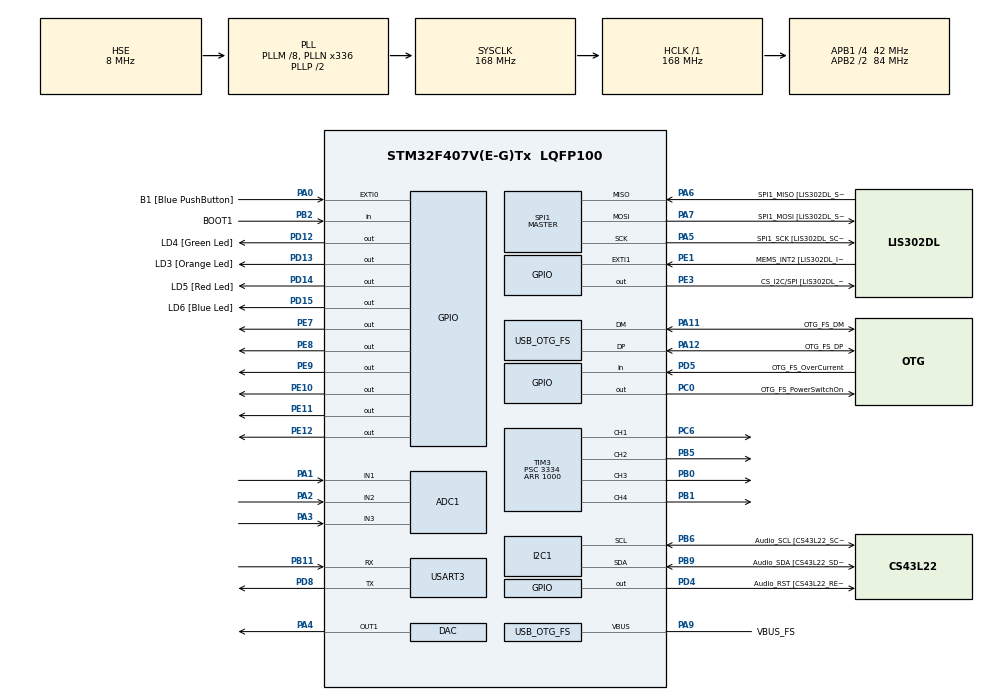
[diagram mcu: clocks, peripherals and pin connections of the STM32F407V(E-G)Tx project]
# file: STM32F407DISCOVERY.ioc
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ADC1.Channel-0\#ChannelRegularConversion=ADC_CHANNEL_1
ADC1.Channel-1\#ChannelRegularConversion=ADC_CHANNEL_2
ADC1.Channel-2\#ChannelRegularConversion=ADC_CHANNEL_3
ADC1.ContinuousConvMode=ENABLE
ADC1.DMAContinuousRequests=ENABLE
ADC1.NbrOfConversion=3
ADC1.NbrOfConversionFlag=1
ADC1.Rank-0\#ChannelRegularConversion=1
ADC1.Rank-1\#ChannelRegularConversion=2
ADC1.Rank-2\#ChannelRegularConversion=3
ADC1.SamplingTime-0\#ChannelRegularConversion=ADC_SAMPLETIME_3CYCLES
ADC1.SamplingTime-1\#ChannelRegularConversion=ADC_SAMPLETIME_3CYCLES
ADC1.SamplingTime-2\#ChannelRegularConversion=ADC_SAMPLETIME_3CYCLES
ADC1.ScanConvMode=ENABLE
ADC1.master=1
DAC.DAC_Trigger=DAC_TRIGGER_T6_TRGO
Dma.ADC1.0.Direction=DMA_PERIPH_TO_MEMORY
Dma.ADC1.0.FIFOMode=DMA_FIFOMODE_DISABLE
Dma.ADC1.0.Instance=DMA2_Stream0
Dma.ADC1.0.MemDataAlignment=DMA_MDATAALIGN_WORD
Dma.ADC1.0.MemInc=DMA_MINC_ENABLE
Dma.ADC1.0.Mode=DMA_NORMAL
Dma.ADC1.0.PeriphDataAlignment=DMA_PDATAALIGN_WORD
Dma.ADC1.0.PeriphInc=DMA_PINC_DISABLE
Dma.ADC1.0.Priority=DMA_PRIORITY_LOW
Dma.Request0=ADC1
Mcu.Family=STM32F4
Mcu.Name=STM32F407V(E-G)Tx
Mcu.Package=LQFP100
NVIC.ADC_IRQn=true\:0\:0\:false\:false\:true\:true
NVIC.DMA2_Stream0_IRQn=true\:0\:0\:false\:false\:true\:false
NVIC.OTG_FS_IRQn=true\:0\:0\:false\:false\:true\:true
NVIC.PriorityGroup=NVIC_PRIORITYGROUP_0
NVIC.USART3_IRQn=true\:0\:0\:false\:false\:true\:true
PA0-WKUP.GPIO_Label=B1 [Blue PushButton]
PA0-WKUP.GPIO_ModeDefaultEXTI=GPIO_MODE_EVT_RISING
PA0-WKUP.GPIO_PuPd=GPIO_NOPULL
PA0-WKUP.Signal=GPXTI0
PA1.Signal=ADCx_IN1
PA10.GPIO_Label=OTG_FS_ID
PA10.GPIO_Mode=GPIO_MODE_AF_PP
PA10.GPIO_PuPd=GPIO_NOPULL
PA10.GPIO_Speed=GPIO_SPEED_FREQ_LOW
PA10.Signal=USB_OTG_FS_ID
PA11.GPIO_Label=OTG_FS_DM
PA11.GPIO_Mode=GPIO_MODE_AF_PP
PA11.GPIO_PuPd=GPIO_NOPULL
PA11.GPIO_Speed=GPIO_SPEED_FREQ_LOW
PA11.Mode=Host_Only
PA11.Signal=USB_OTG_FS_DM
PA12.GPIO_Label=OTG_FS_DP
PA12.GPIO_Mode=GPIO_MODE_AF_PP
PA12.GPIO_PuPd=GPIO_NOPULL
PA12.GPIO_Speed=GPIO_SPEED_FREQ_LOW
PA12.Mode=Host_Only
PA12.Signal=USB_OTG_FS_DP
PA13.GPIO_Label=SWDIO
PA13.Mode=Serial_Wire
PA13.Signal=SYS_JTMS-SWDIO
PA14.GPIO_Label=SWCLK
PA14.Mode=Serial_Wire
PA14.Signal=SYS_JTCK-SWCLK
PA2.Signal=ADCx_IN2
PA3.Signal=ADCx_IN3
PA4.Signal=COMP_DAC1_group
PA5.GPIO_Label=SPI1_SCK [LIS302DL_SCL/SPC]
PA5.GPIO_Mode=GPIO_MODE_AF_PP
PA5.GPIO_PuPd=GPIO_NOPULL
PA5.GPIO_Speed=GPIO_SPEED_FREQ_LOW
PA5.Mode=Full_Duplex_Master
PA5.Signal=SPI1_SCK
PA6.GPIO_Label=SPI1_MISO [LIS302DL_SDO]
PA6.GPIO_Mode=GPIO_MODE_AF_PP
PA6.GPIO_PuPd=GPIO_NOPULL
PA6.GPIO_Speed=GPIO_SPEED_FREQ_LOW
PA6.Mode=Full_Duplex_Master
PA6.Signal=SPI1_MISO
PA7.GPIO_Label=SPI1_MOSI [LIS302DL_SDA/SDI/SDO]
PA7.GPIO_Mode=GPIO_MODE_AF_PP
PA7.GPIO_PuPd=GPIO_NOPULL
PA7.GPIO_Speed=GPIO_SPEED_FREQ_LOW
PA7.Mode=Full_Duplex_Master
PA7.Signal=SPI1_MOSI
PA9.GPIO_Label=VBUS_FS
PA9.GPIO_Mode=GPIO_MODE_INPUT
PA9.GPIO_PuPd=GPIO_NOPULL
PA9.Mode=Activate_VBUS
PA9.Signal=USB_OTG_FS_VBUS
PB0.Signal=S_TIM3_CH3
PB1.Signal=S_TIM3_CH4
PB10.GPIO_Label=CLK_IN [MP45DT02_CLK]
PB10.GPIO_Mode=GPIO_MODE_AF_PP
PB10.GPIO_PuPd=GPIO_NOPULL
PB10.GPIO_Speed=GPIO_SPEED_FREQ_LOW
PB10.Signal=I2S2_CK
PB11.Mode=Asynchronous
PB11.Signal=USART3_RX
PB2.GPIO_Label=BOOT1
PB2.GPIO_Mode=GPIO_MODE_INPUT
PB2.GPIO_PuPd=GPIO_NOPULL
PB2.Signal=GPIO_Input
PB3.GPIO_Label=SWO
PB3.Signal=SYS_JTDO-SWO
PB5.Signal=S_TIM3_CH2
PB6.GPIO_Label=Audio_SCL [CS43L22_SCL]
PB6.GPIO_Mode=GPIO_MODE_AF_OD
PB6.GPIO_PuPd=GPIO_NOPULL
PB6.GPIO_Speed=GPIO_SPEED_FREQ_LOW
PB6.Mode=I2C
PB6.Signal=I2C1_SCL
PB9.GPIO_Label=Audio_SDA [CS43L22_SDA]
PB9.GPIO_Mode=GPIO_MODE_AF_OD
PB9.GPIO_PuPd=GPIO_NOPULL
PB9.GPIO_Speed=GPIO_SPEED_FREQ_LOW
PB9.Mode=I2C
PB9.Signal=I2C1_SDA
PC0.GPIO_Label=OTG_FS_PowerSwitchOn
PC0.GPIO_PuPd=GPIO_NOPULL
PC0.GPIO_Speed=GPIO_SPEED_FREQ_LOW
PC0.PinState=GPIO_PIN_SET
PC0.Signal=GPIO_Output
PC10.GPIO_Label=I2S3_SCK [CS43L22_SCLK]
PC10.GPIO_Mode=GPIO_MODE_AF_PP
PC10.GPIO_PuPd=GPIO_NOPULL
PC10.GPIO_Speed=GPIO_SPEED_FREQ_LOW
PC10.Signal=I2S3_CK
PC12.GPIO_Label=I2S3_SD [CS43L22_SDIN]
PC12.GPIO_Mode=GPIO_MODE_AF_PP
PC12.GPIO_PuPd=GPIO_NOPULL
PC12.GPIO_Speed=GPIO_SPEED_FREQ_LOW
PC12.Signal=I2S3_SD
PC14-OSC32_IN.GPIO_Label=PC14-OSC32_IN
PC14-OSC32_IN.Mode=LSE-External-Oscillator
PC14-OSC32_IN.Signal=RCC_OSC32_IN
PC15-OSC32_OUT.GPIO_Label=PC15-OSC32_OUT
PC15-OSC32_OUT.Mode=LSE-External-Oscillator
PC15-OSC32_OUT.Signal=RCC_OSC32_OUT
PC3.GPIO_Label=PDM_OUT [MP45DT02_DOUT]
PC3.GPIO_Mode=GPIO_MODE_AF_PP
PC3.GPIO_PuPd=GPIO_NOPULL
PC3.GPIO_Speed=GPIO_SPEED_FREQ_LOW
PC3.Signal=I2S2_SD
PC6.Signal=S_TIM3_CH1
PC7.GPIO_Label=I2S3_MCK [CS43L22_MCLK]
PC7.GPIO_Mode=GPIO_MODE_AF_PP
PC7.GPIO_PuPd=GPIO_NOPULL
PC7.GPIO_Speed=GPIO_SPEED_FREQ_LOW
PC7.Signal=I2S3_MCK
PD12.GPIO_Label=LD4 [Green Led]
PD12.GPIO_PuPd=GPIO_NOPULL
PD12.GPIO_Speed=GPIO_SPEED_FREQ_LOW
PD12.Signal=GPIO_Output
PD13.GPIO_Label=LD3 [Orange Led]
PD13.GPIO_PuPd=GPIO_NOPULL
PD13.GPIO_Speed=GPIO_SPEED_FREQ_LOW
PD13.Signal=GPIO_Output
PD14.GPIO_Label=LD5 [Red Led]
PD14.GPIO_PuPd=GPIO_NOPULL
PD14.GPIO_Speed=GPIO_SPEED_FREQ_LOW
PD14.Signal=GPIO_Output
PD15.GPIO_Label=LD6 [Blue Led]
PD15.GPIO_PuPd=GPIO_NOPULL
PD15.GPIO_Speed=GPIO_SPEED_FREQ_LOW
PD15.Signal=GPIO_Output
PD4.GPIO_Label=Audio_RST [CS43L22_RESET]
PD4.GPIO_PuPd=GPIO_NOPULL
PD4.GPIO_Speed=GPIO_SPEED_FREQ_LOW
PD4.Signal=GPIO_Output
PD5.GPIO_Label=OTG_FS_OverCurrent
PD5.GPIO_Mode=GPIO_MODE_INPUT
PD5.GPIO_PuPd=GPIO_NOPULL
PD5.Signal=GPIO_Input
PD8.Mode=Asynchronous
PD8.Signal=USART3_TX
PE1.GPIO_Label=MEMS_INT2 [LIS302DL_INT2]
PE1.GPIO_ModeDefaultEXTI=GPIO_MODE_EVT_RISING
PE1.GPIO_PuPd=GPIO_NOPULL
PE1.Signal=GPXTI1
PE10.Signal=GPIO_Output
PE11.Signal=GPIO_Output
PE12.Signal=GPIO_Output
PE3.GPIO_Label=CS_I2C/SPI [LIS302DL_CS_I2C/SPI]
PE3.GPIO_PuPd=GPIO_NOPULL
PE3.GPIO_Speed=GPIO_SPEED_FREQ_LOW
PE3.Signal=GPIO_Output
PE7.Signal=GPIO_Output
PE8.Signal=GPIO_Output
PE9.Signal=GPIO_Output
PH0-OSC_IN.GPIO_Label=PH0-OSC_IN
PH0-OSC_IN.Mode=HSE-External-Oscillator
PH0-OSC_IN.Signal=RCC_OSC_IN
PH1-OSC_OUT.GPIO_Label=PH1-OSC_OUT
PH1-OSC_OUT.Mode=HSE-External-Oscillator
PH1-OSC_OUT.Signal=RCC_OSC_OUT
ProjectManager.HeapSize=0x200
ProjectManager.StackSize=0x400
ProjectManager.TargetToolchain=Makefile
RCC.48MHZClocksFreq_Value=48000000
RCC.AHBFreq_Value=168000000
RCC.APB1CLKDivider=RCC_HCLK_DIV4
RCC.APB1Freq_Value=42000000
RCC.APB1TimFreq_Value=84000000
RCC.APB2CLKDivider=RCC_HCLK_DIV2
RCC.APB2Freq_Value=84000000
RCC.APB2TimFreq_Value=168000000
RCC.CortexFreq_Value=168000000
RCC.HCLKFreq_Value=168000000
RCC.HSE_VALUE=8000000
RCC.HSI_VALUE=16000000
RCC.PLLM=8
RCC.PLLN=336
RCC.PLLQ=7
RCC.SYSCLKFreq_VALUE=168000000
RCC.SYSCLKSource=RCC_SYSCLKSOURCE_PLLCLK
RCC.VCOOutputFreq_Value=336000000
SH.ADCx_IN1.0=ADC1_IN1,IN1
SH.ADCx_IN2.0=ADC1_IN2,IN2
SH.ADCx_IN3.0=ADC1_IN3,IN3
SH.COMP_DAC1_group.0=DAC_OUT1,DAC_OUT1
SH.S_TIM3_CH1.0=TIM3_CH1,PWM Generation1 CH1
SH.S_TIM3_CH2.0=TIM3_CH2,PWM Generation2 CH2
SH.S_TIM3_CH3.0=TIM3_CH3,PWM Generation3 CH3
SH.S_TIM3_CH4.0=TIM3_CH4,PWM Generation4 CH4
SPI1.BaudRatePrescaler-Full_Duplex_Master=SPI_BAUDRATEPRESCALER_2
SPI1.CalculateBaudRate-Full_Duplex_Master=42.0 MBits/s
SPI1.Direction=SPI_DIRECTION_2LINES
SPI1.Mode=SPI_MODE_MASTER
SPI1.Mode-Full_Duplex_Master=SPI_MODE_MASTER
SPI1.VirtualType=VM_MASTER
TIM3.Channel-PWM\ Generation1\ CH1=TIM_CHANNEL_1
TIM3.Channel-PWM\ Generation2\ CH2=TIM_CHANNEL_2
TIM3.Channel-PWM\ Generation3\ CH3=TIM_CHANNEL_3
TIM3.Channel-PWM\ Generation4\ CH4=TIM_CHANNEL_4
TIM3.Period=1000
TIM3.Prescaler=3334
TIM3.TIM_MasterOutputTrigger=TIM_TRGO_UPDATE
TIM6.Period=1000
TIM6.Prescaler=3334
TIM6.TIM_MasterOutputTrigger=TIM_TRGO_UPDATE
USART3.VirtualMode=VM_ASYNC
USB_HOST.BSP.number=1
USB_HOST.USBH_HandleTypeDef-CDC_FS=hUsbHostFS
USB_HOST.VirtualModeFS=Cdc
USB_HOST0.BSP.STBoard=false
USB_HOST0.BSP.api=UnknownBspDriver
USB_HOST0.BSP.i2caddr=0
USB_HOST0.BSP.i2creg=0
USB_HOST0.BSP.instance=PC0
USB_HOST0.BSP.ip=GPIO
USB_HOST0.BSP.mode=Output
USB_HOST0.BSP.name=Drive_VBUS_FS
USB_HOST0.BSP.solution=PC0
USB_OTG_FS.VirtualMode=Host_Only
USB_OTG_FS.phy_itface=HCD_PHY_EMBEDDED
VP_TIM3_VS_ClockSourceINT.Mode=Internal
VP_TIM6_VS_ClockSourceINT.Mode=Enable_Timer
VP_USB_HOST_VS_USB_HOST_CDC_FS.Mode=CDC_FS
board=STM32F4DISCOVERY

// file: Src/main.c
/**
  ******************************************************************************
  * @file           : main.c
  * @brief          : Main program body
  ******************************************************************************
  * This notice applies to any and all portions of this file
  * that are not between comment pairs USER CODE BEGIN and
  * USER CODE END. Other portions of this file, whether
  * inserted by the user or by software development tools
  * are owned by their respective copyright owners.
  *
  * Copyright (c) 2018 STMicroelectronics International N.V.
  * All rights reserved.
  *
  * Redistribution and use in source and binary forms, with or without
  * modification, are permitted, provided that the following conditions are met:
  *
  * 1. Redistribution of source code must retain the above copyright notice,
  *    this list of conditions and the following disclaimer.
  * 2. Redistributions in binary form must reproduce the above copyright notice,
  *    this list of conditions and the following disclaimer in the documentation
  *    and/or other materials provided with the distribution.
  * 3. Neither the name of STMicroelectronics nor the names of other
  *    contributors to this software may be used to endorse or promote products
  *    derived from this software without specific written permission.
  * 4. This software, including modifications and/or derivative works of this
  *    software, must execute solely and exclusively on microcontroller or
  *    microprocessor devices manufactured by or for STMicroelectronics.
  * 5. Redistribution and use of this software other than as permitted under
  *    this license is void and will automatically terminate your rights under
  *    this license.
  *
  * THIS SOFTWARE IS PROVIDED BY STMICROELECTRONICS AND CONTRIBUTORS "AS IS"
  * AND ANY EXPRESS, IMPLIED OR STATUTORY WARRANTIES, INCLUDING, BUT NOT
  * LIMITED TO, THE IMPLIED WARRANTIES OF MERCHANTABILITY, FITNESS FOR A
  * PARTICULAR PURPOSE AND NON-INFRINGEMENT OF THIRD PARTY INTELLECTUAL PROPERTY
  * RIGHTS ARE DISCLAIMED TO THE FULLEST EXTENT PERMITTED BY LAW. IN NO EVENT
  * SHALL STMICROELECTRONICS OR CONTRIBUTORS BE LIABLE FOR ANY DIRECT, INDIRECT,
  * INCIDENTAL, SPECIAL, EXEMPLARY, OR CONSEQUENTIAL DAMAGES (INCLUDING, BUT NOT
  * LIMITED TO, PROCUREMENT OF SUBSTITUTE GOODS OR SERVICES; LOSS OF USE, DATA,
  * OR PROFITS; OR BUSINESS INTERRUPTION) HOWEVER CAUSED AND ON ANY THEORY OF
  * LIABILITY, WHETHER IN CONTRACT, STRICT LIABILITY, OR TORT (INCLUDING
  * NEGLIGENCE OR OTHERWISE) ARISING IN ANY WAY OUT OF THE USE OF THIS SOFTWARE,
  * EVEN IF ADVISED OF THE POSSIBILITY OF SUCH DAMAGE.
  *
  ******************************************************************************
  */
#include "main.h"
#include "stm32f4xx_hal.h"
#include "usb_host.h"

/* USER CODE BEGIN Includes */
#include "Private_lib/printf.h"
/* USER CODE END Includes */

ADC_HandleTypeDef hadc1;
DMA_HandleTypeDef hdma_adc1;

DAC_HandleTypeDef hdac;

I2C_HandleTypeDef hi2c1;

SPI_HandleTypeDef hspi1;

TIM_HandleTypeDef htim3;
TIM_HandleTypeDef htim6;

UART_HandleTypeDef huart3;

/* USER CODE BEGIN PV */
/* Private variables ---------------------------------------------------------*/

/* USER CODE END PV */

void SystemClock_Config(void);
static void MX_GPIO_Init(void);
static void MX_DMA_Init(void);
static void MX_I2C1_Init(void);
static void MX_SPI1_Init(void);
static void MX_DAC_Init(void);
static void MX_TIM3_Init(void);
static void MX_USART3_UART_Init(void);
static void MX_TIM6_Init(void);
static void MX_ADC1_Init(void);
void MX_USB_HOST_Process(void);

void HAL_TIM_MspPostInit(TIM_HandleTypeDef *htim);

/* USER CODE BEGIN PFP */
/* Private function prototypes -----------------------------------------------*/
void dbg_write_str(const char *msg);
/* USER CODE END PFP */

/* USER CODE BEGIN 0 */
char temp[100];
/* USER CODE END 0 */

int main(void)
{

  /* MCU Configuration----------------------------------------------------------*/

  /* Reset of all peripherals, Initializes the Flash interface and the Systick. */
  HAL_Init();

  /* Configure the system clock */
  SystemClock_Config();

  /* Initialize all configured peripherals */
  MX_GPIO_Init();
  MX_DMA_Init();
  MX_I2C1_Init();
  MX_SPI1_Init();
  MX_USB_HOST_Init();
  MX_DAC_Init();
  MX_TIM3_Init();
  MX_USART3_UART_Init();
  MX_TIM6_Init();
  MX_ADC1_Init();
  /* USER CODE BEGIN 2 */

  dbg_write_str("probando verboso\n");
  for (int i=0;i<10;i++){
  sprintf(temp,"iter: %d\n",i);
  dbg_write_str(temp);
}
  /* USER CODE END 2 */

  /* Infinite loop */
  while (1)
  {
    MX_USB_HOST_Process();

  }

}

void SystemClock_Config(void)
{

  RCC_OscInitTypeDef RCC_OscInitStruct;
  RCC_ClkInitTypeDef RCC_ClkInitStruct;

    /**Configure the main internal regulator output voltage
    */
  __HAL_RCC_PWR_CLK_ENABLE();

  __HAL_PWR_VOLTAGESCALING_CONFIG(PWR_REGULATOR_VOLTAGE_SCALE1);

    /**Initializes the CPU, AHB and APB busses clocks
    */
  RCC_OscInitStruct.OscillatorType = RCC_OSCILLATORTYPE_HSE;
  RCC_OscInitStruct.HSEState = RCC_HSE_ON;
  RCC_OscInitStruct.PLL.PLLState = RCC_PLL_ON;
  RCC_OscInitStruct.PLL.PLLSource = RCC_PLLSOURCE_HSE;
  RCC_OscInitStruct.PLL.PLLM = 8;
  RCC_OscInitStruct.PLL.PLLN = 336;
  RCC_OscInitStruct.PLL.PLLP = RCC_PLLP_DIV2;
  RCC_OscInitStruct.PLL.PLLQ = 7;
  if (HAL_RCC_OscConfig(&RCC_OscInitStruct) != HAL_OK)
  {
    _Error_Handler(__FILE__, __LINE__);
  }

    /**Initializes the CPU, AHB and APB busses clocks
    */
  RCC_ClkInitStruct.ClockType = RCC_CLOCKTYPE_HCLK|RCC_CLOCKTYPE_SYSCLK
                              |RCC_CLOCKTYPE_PCLK1|RCC_CLOCKTYPE_PCLK2;
  RCC_ClkInitStruct.SYSCLKSource = RCC_SYSCLKSOURCE_PLLCLK;
  RCC_ClkInitStruct.AHBCLKDivider = RCC_SYSCLK_DIV1;
  RCC_ClkInitStruct.APB1CLKDivider = RCC_HCLK_DIV4;
  RCC_ClkInitStruct.APB2CLKDivider = RCC_HCLK_DIV2;

  if (HAL_RCC_ClockConfig(&RCC_ClkInitStruct, FLASH_LATENCY_5) != HAL_OK)
  {
    _Error_Handler(__FILE__, __LINE__);
  }

    /**Configure the Systick interrupt time
    */
  HAL_SYSTICK_Config(HAL_RCC_GetHCLKFreq()/1000);

    /**Configure the Systick
    */
  HAL_SYSTICK_CLKSourceConfig(SYSTICK_CLKSOURCE_HCLK);

  /* SysTick_IRQn interrupt configuration */
  HAL_NVIC_SetPriority(SysTick_IRQn, 0, 0);
}

/* ADC1 init function */
static void MX_ADC1_Init(void)
{

  ADC_ChannelConfTypeDef sConfig;

    /**Configure the global features of the ADC (Clock, Resolution, Data Alignment and number of conversion)
    */
  hadc1.Instance = ADC1;
  hadc1.Init.ClockPrescaler = ADC_CLOCK_SYNC_PCLK_DIV4;
  hadc1.Init.Resolution = ADC_RESOLUTION_12B;
  hadc1.Init.ScanConvMode = ENABLE;
  hadc1.Init.ContinuousConvMode = ENABLE;
  hadc1.Init.DiscontinuousConvMode = DISABLE;
  hadc1.Init.ExternalTrigConvEdge = ADC_EXTERNALTRIGCONVEDGE_NONE;
  hadc1.Init.ExternalTrigConv = ADC_SOFTWARE_START;
  hadc1.Init.DataAlign = ADC_DATAALIGN_RIGHT;
  hadc1.Init.NbrOfConversion = 3;
  hadc1.Init.DMAContinuousRequests = ENABLE;
  hadc1.Init.EOCSelection = ADC_EOC_SINGLE_CONV;
  if (HAL_ADC_Init(&hadc1) != HAL_OK)
  {
    _Error_Handler(__FILE__, __LINE__);
  }

    /**Configure for the selected ADC regular channel its corresponding rank in the sequencer and its sample time.
    */
  sConfig.Channel = ADC_CHANNEL_1;
  sConfig.Rank = 1;
  sConfig.SamplingTime = ADC_SAMPLETIME_3CYCLES;
  if (HAL_ADC_ConfigChannel(&hadc1, &sConfig) != HAL_OK)
  {
    _Error_Handler(__FILE__, __LINE__);
  }

    /**Configure for the selected ADC regular channel its corresponding rank in the sequencer and its sample time.
    */
  sConfig.Channel = ADC_CHANNEL_2;
  sConfig.Rank = 2;
  if (HAL_ADC_ConfigChannel(&hadc1, &sConfig) != HAL_OK)
  {
    _Error_Handler(__FILE__, __LINE__);
  }

    /**Configure for the selected ADC regular channel its corresponding rank in the sequencer and its sample time.
    */
  sConfig.Channel = ADC_CHANNEL_3;
  sConfig.Rank = 3;
  if (HAL_ADC_ConfigChannel(&hadc1, &sConfig) != HAL_OK)
  {
    _Error_Handler(__FILE__, __LINE__);
  }

}

/* DAC init function */
static void MX_DAC_Init(void)
{

  DAC_ChannelConfTypeDef sConfig;

    /**DAC Initialization
    */
  hdac.Instance = DAC;
  if (HAL_DAC_Init(&hdac) != HAL_OK)
  {
    _Error_Handler(__FILE__, __LINE__);
  }

    /**DAC channel OUT1 config
    */
  sConfig.DAC_Trigger = DAC_TRIGGER_T6_TRGO;
  sConfig.DAC_OutputBuffer = DAC_OUTPUTBUFFER_ENABLE;
  if (HAL_DAC_ConfigChannel(&hdac, &sConfig, DAC_CHANNEL_1) != HAL_OK)
  {
    _Error_Handler(__FILE__, __LINE__);
  }

}

/* I2C1 init function */
static void MX_I2C1_Init(void)
{

  hi2c1.Instance = I2C1;
  hi2c1.Init.ClockSpeed = 100000;
  hi2c1.Init.DutyCycle = I2C_DUTYCYCLE_2;
  hi2c1.Init.OwnAddress1 = 0;
  hi2c1.Init.AddressingMode = I2C_ADDRESSINGMODE_7BIT;
  hi2c1.Init.DualAddressMode = I2C_DUALADDRESS_DISABLE;
  hi2c1.Init.OwnAddress2 = 0;
  hi2c1.Init.GeneralCallMode = I2C_GENERALCALL_DISABLE;
  hi2c1.Init.NoStretchMode = I2C_NOSTRETCH_DISABLE;
  if (HAL_I2C_Init(&hi2c1) != HAL_OK)
  {
    _Error_Handler(__FILE__, __LINE__);
  }

}

/* SPI1 init function */
static void MX_SPI1_Init(void)
{

  /* SPI1 parameter configuration*/
  hspi1.Instance = SPI1;
  hspi1.Init.Mode = SPI_MODE_MASTER;
  hspi1.Init.Direction = SPI_DIRECTION_2LINES;
  hspi1.Init.DataSize = SPI_DATASIZE_8BIT;
  hspi1.Init.CLKPolarity = SPI_POLARITY_LOW;
  hspi1.Init.CLKPhase = SPI_PHASE_1EDGE;
  hspi1.Init.NSS = SPI_NSS_SOFT;
  hspi1.Init.BaudRatePrescaler = SPI_BAUDRATEPRESCALER_2;
  hspi1.Init.FirstBit = SPI_FIRSTBIT_MSB;
  hspi1.Init.TIMode = SPI_TIMODE_DISABLE;
  hspi1.Init.CRCCalculation = SPI_CRCCALCULATION_DISABLE;
  hspi1.Init.CRCPolynomial = 10;
  if (HAL_SPI_Init(&hspi1) != HAL_OK)
  {
    _Error_Handler(__FILE__, __LINE__);
  }

}

/* TIM3 init function */
static void MX_TIM3_Init(void)
{

  TIM_ClockConfigTypeDef sClockSourceConfig;
  TIM_MasterConfigTypeDef sMasterConfig;
  TIM_OC_InitTypeDef sConfigOC;

  htim3.Instance = TIM3;
  htim3.Init.Prescaler = 3334;
  htim3.Init.CounterMode = TIM_COUNTERMODE_UP;
  htim3.Init.Period = 1000;
  htim3.Init.ClockDivision = TIM_CLOCKDIVISION_DIV1;
  if (HAL_TIM_Base_Init(&htim3) != HAL_OK)
  {
    _Error_Handler(__FILE__, __LINE__);
  }

  sClockSourceConfig.ClockSource = TIM_CLOCKSOURCE_INTERNAL;
  if (HAL_TIM_ConfigClockSource(&htim3, &sClockSourceConfig) != HAL_OK)
  {
    _Error_Handler(__FILE__, __LINE__);
  }

  if (HAL_TIM_PWM_Init(&htim3) != HAL_OK)
  {
    _Error_Handler(__FILE__, __LINE__);
  }

  sMasterConfig.MasterOutputTrigger = TIM_TRGO_UPDATE;
  sMasterConfig.MasterSlaveMode = TIM_MASTERSLAVEMODE_DISABLE;
  if (HAL_TIMEx_MasterConfigSynchronization(&htim3, &sMasterConfig) != HAL_OK)
  {
    _Error_Handler(__FILE__, __LINE__);
  }

  sConfigOC.OCMode = TIM_OCMODE_PWM1;
  sConfigOC.Pulse = 0;
  sConfigOC.OCPolarity = TIM_OCPOLARITY_HIGH;
  sConfigOC.OCFastMode = TIM_OCFAST_DISABLE;
  if (HAL_TIM_PWM_ConfigChannel(&htim3, &sConfigOC, TIM_CHANNEL_1) != HAL_OK)
  {
    _Error_Handler(__FILE__, __LINE__);
  }

  if (HAL_TIM_PWM_ConfigChannel(&htim3, &sConfigOC, TIM_CHANNEL_2) != HAL_OK)
  {
    _Error_Handler(__FILE__, __LINE__);
  }

  if (HAL_TIM_PWM_ConfigChannel(&htim3, &sConfigOC, TIM_CHANNEL_3) != HAL_OK)
  {
    _Error_Handler(__FILE__, __LINE__);
  }

  if (HAL_TIM_PWM_ConfigChannel(&htim3, &sConfigOC, TIM_CHANNEL_4) != HAL_OK)
  {
    _Error_Handler(__FILE__, __LINE__);
  }

  HAL_TIM_MspPostInit(&htim3);

}

/* TIM6 init function */
static void MX_TIM6_Init(void)
{

  TIM_MasterConfigTypeDef sMasterConfig;

  htim6.Instance = TIM6;
  htim6.Init.Prescaler = 3334;
  htim6.Init.CounterMode = TIM_COUNTERMODE_UP;
  htim6.Init.Period = 1000;
  if (HAL_TIM_Base_Init(&htim6) != HAL_OK)
  {
    _Error_Handler(__FILE__, __LINE__);
  }

  sMasterConfig.MasterOutputTrigger = TIM_TRGO_UPDATE;
  sMasterConfig.MasterSlaveMode = TIM_MASTERSLAVEMODE_DISABLE;
  if (HAL_TIMEx_MasterConfigSynchronization(&htim6, &sMasterConfig) != HAL_OK)
  {
    _Error_Handler(__FILE__, __LINE__);
  }

}

/* USART3 init function */
static void MX_USART3_UART_Init(void)
{

  huart3.Instance = USART3;
  huart3.Init.BaudRate = 115200;
  huart3.Init.WordLength = UART_WORDLENGTH_8B;
  huart3.Init.StopBits = UART_STOPBITS_1;
  huart3.Init.Parity = UART_PARITY_NONE;
  huart3.Init.Mode = UART_MODE_TX_RX;
  huart3.Init.HwFlowCtl = UART_HWCONTROL_NONE;
  huart3.Init.OverSampling = UART_OVERSAMPLING_16;
  if (HAL_UART_Init(&huart3) != HAL_OK)
  {
    _Error_Handler(__FILE__, __LINE__);
  }

}

static void MX_DMA_Init(void)
{
  /* DMA controller clock enable */
  __HAL_RCC_DMA2_CLK_ENABLE();

  /* DMA interrupt init */
  /* DMA2_Stream0_IRQn interrupt configuration */
  HAL_NVIC_SetPriority(DMA2_Stream0_IRQn, 0, 0);
  HAL_NVIC_EnableIRQ(DMA2_Stream0_IRQn);

}

/** Configure pins as
        * Analog
        * Input
        * Output
        * EVENT_OUT
        * EXTI
     PC3   ------> I2S2_SD
     PB10   ------> I2S2_CK
     PC7   ------> I2S3_MCK
     PC10   ------> I2S3_CK
     PC12   ------> I2S3_SD
*/
static void MX_GPIO_Init(void)
{

  GPIO_InitTypeDef GPIO_InitStruct;

  /* GPIO Ports Clock Enable */
  __HAL_RCC_GPIOE_CLK_ENABLE();
  __HAL_RCC_GPIOC_CLK_ENABLE();
  __HAL_RCC_GPIOH_CLK_ENABLE();
  __HAL_RCC_GPIOA_CLK_ENABLE();
  __HAL_RCC_GPIOB_CLK_ENABLE();
  __HAL_RCC_GPIOD_CLK_ENABLE();

  /*Configure GPIO pin Output Level */
  HAL_GPIO_WritePin(GPIOE, CS_I2C_SPI_Pin|GPIO_PIN_7|GPIO_PIN_8|GPIO_PIN_9
                          |GPIO_PIN_10|GPIO_PIN_11|GPIO_PIN_12, GPIO_PIN_RESET);

  /*Configure GPIO pin Output Level */
  HAL_GPIO_WritePin(OTG_FS_PowerSwitchOn_GPIO_Port, OTG_FS_PowerSwitchOn_Pin, GPIO_PIN_SET);

  /*Configure GPIO pin Output Level */
  HAL_GPIO_WritePin(GPIOD, LD4_Pin|LD3_Pin|LD5_Pin|LD6_Pin
                          |Audio_RST_Pin, GPIO_PIN_RESET);

  /*Configure GPIO pins : CS_I2C_SPI_Pin PE7 PE8 PE9
                           PE10 PE11 PE12 */
  GPIO_InitStruct.Pin = CS_I2C_SPI_Pin|GPIO_PIN_7|GPIO_PIN_8|GPIO_PIN_9
                          |GPIO_PIN_10|GPIO_PIN_11|GPIO_PIN_12;
  GPIO_InitStruct.Mode = GPIO_MODE_OUTPUT_PP;
  GPIO_InitStruct.Pull = GPIO_NOPULL;
  GPIO_InitStruct.Speed = GPIO_SPEED_FREQ_LOW;
  HAL_GPIO_Init(GPIOE, &GPIO_InitStruct);

  /*Configure GPIO pin : OTG_FS_PowerSwitchOn_Pin */
  GPIO_InitStruct.Pin = OTG_FS_PowerSwitchOn_Pin;
  GPIO_InitStruct.Mode = GPIO_MODE_OUTPUT_PP;
  GPIO_InitStruct.Pull = GPIO_NOPULL;
  GPIO_InitStruct.Speed = GPIO_SPEED_FREQ_LOW;
  HAL_GPIO_Init(OTG_FS_PowerSwitchOn_GPIO_Port, &GPIO_InitStruct);

  /*Configure GPIO pin : PDM_OUT_Pin */
  GPIO_InitStruct.Pin = PDM_OUT_Pin;
  GPIO_InitStruct.Mode = GPIO_MODE_AF_PP;
  GPIO_InitStruct.Pull = GPIO_NOPULL;
  GPIO_InitStruct.Speed = GPIO_SPEED_FREQ_LOW;
  GPIO_InitStruct.Alternate = GPIO_AF5_SPI2;
  HAL_GPIO_Init(PDM_OUT_GPIO_Port, &GPIO_InitStruct);

  /*Configure GPIO pin : B1_Pin */
  GPIO_InitStruct.Pin = B1_Pin;
  GPIO_InitStruct.Mode = GPIO_MODE_EVT_RISING;
  GPIO_InitStruct.Pull = GPIO_NOPULL;
  HAL_GPIO_Init(B1_GPIO_Port, &GPIO_InitStruct);

  /*Configure GPIO pin : BOOT1_Pin */
  GPIO_InitStruct.Pin = BOOT1_Pin;
  GPIO_InitStruct.Mode = GPIO_MODE_INPUT;
  GPIO_InitStruct.Pull = GPIO_NOPULL;
  HAL_GPIO_Init(BOOT1_GPIO_Port, &GPIO_InitStruct);

  /*Configure GPIO pin : CLK_IN_Pin */
  GPIO_InitStruct.Pin = CLK_IN_Pin;
  GPIO_InitStruct.Mode = GPIO_MODE_AF_PP;
  GPIO_InitStruct.Pull = GPIO_NOPULL;
  GPIO_InitStruct.Speed = GPIO_SPEED_FREQ_LOW;
  GPIO_InitStruct.Alternate = GPIO_AF5_SPI2;
  HAL_GPIO_Init(CLK_IN_GPIO_Port, &GPIO_InitStruct);

  /*Configure GPIO pins : LD4_Pin LD3_Pin LD5_Pin LD6_Pin
                           Audio_RST_Pin */
  GPIO_InitStruct.Pin = LD4_Pin|LD3_Pin|LD5_Pin|LD6_Pin
                          |Audio_RST_Pin;
  GPIO_InitStruct.Mode = GPIO_MODE_OUTPUT_PP;
  GPIO_InitStruct.Pull = GPIO_NOPULL;
  GPIO_InitStruct.Speed = GPIO_SPEED_FREQ_LOW;
  HAL_GPIO_Init(GPIOD, &GPIO_InitStruct);

  /*Configure GPIO pins : I2S3_MCK_Pin I2S3_SCK_Pin I2S3_SD_Pin */
  GPIO_InitStruct.Pin = I2S3_MCK_Pin|I2S3_SCK_Pin|I2S3_SD_Pin;
  GPIO_InitStruct.Mode = GPIO_MODE_AF_PP;
  GPIO_InitStruct.Pull = GPIO_NOPULL;
  GPIO_InitStruct.Speed = GPIO_SPEED_FREQ_LOW;
  GPIO_InitStruct.Alternate = GPIO_AF6_SPI3;
  HAL_GPIO_Init(GPIOC, &GPIO_InitStruct);

  /*Configure GPIO pin : OTG_FS_OverCurrent_Pin */
  GPIO_InitStruct.Pin = OTG_FS_OverCurrent_Pin;
  GPIO_InitStruct.Mode = GPIO_MODE_INPUT;
  GPIO_InitStruct.Pull = GPIO_NOPULL;
  HAL_GPIO_Init(OTG_FS_OverCurrent_GPIO_Port, &GPIO_InitStruct);

  /*Configure GPIO pin : MEMS_INT2_Pin */
  GPIO_InitStruct.Pin = MEMS_INT2_Pin;
  GPIO_InitStruct.Mode = GPIO_MODE_EVT_RISING;
  GPIO_InitStruct.Pull = GPIO_NOPULL;
  HAL_GPIO_Init(MEMS_INT2_GPIO_Port, &GPIO_InitStruct);

}

/* USER CODE BEGIN 4 */
#define __armsemihosting__
void dbg_write_str(const char *msg)
{
#ifdef __armsemihosting__
//depuraciСn en modo verboso
// Manual semi-hosting, because the GCC ARM Embedded's semihosting wasn't working.
//https://answers.launchpad.net/gcc-arm-embedded/+question/232520
 for (; *msg; ++msg)
 {
  // Moves a pointer to msg into r1, sets r0 to 0x03,
  // and then performs a special breakpoint that OpenOCD sees as
  // the semihosting call. r0 tells OpenOCD which semihosting
  // function we're calling. In this case WRITEC, which writes
  // a single char pointed to by r1 to the console.
  __asm__ ("mov r1,%0; mov r0,$3; BKPT 0xAB" :
                                             : "r" (msg)
                                             : "r0", "r1"
  );
 }
//#else
// printf ("%s", msg);
#endif
}

/* USER CODE END 4 */

void _Error_Handler(char *file, int line)
{
  while(1)
  {
  }
}

/************************ (C) COPYRIGHT STMicroelectronics *****END OF FILE****/
